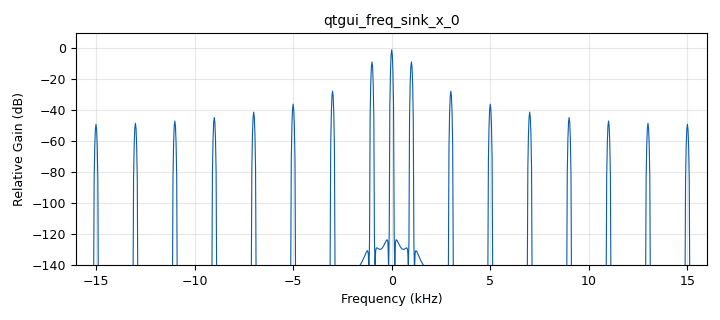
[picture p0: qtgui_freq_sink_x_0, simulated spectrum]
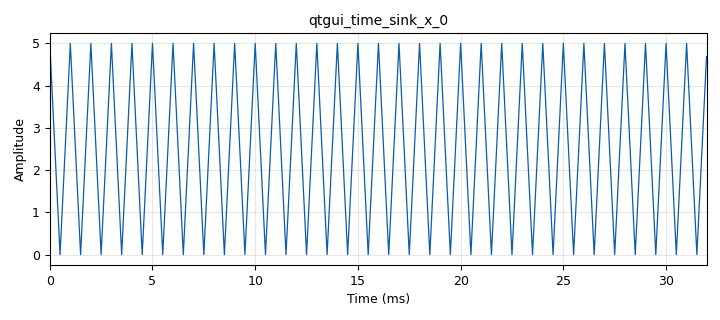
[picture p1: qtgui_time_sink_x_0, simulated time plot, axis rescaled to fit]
options:
  parameters:
    author: labcom
    generate_options: qt_gui
    id: flujograma2
    output_language: python
    title: Not titled yet
  states: {}

blocks:
- name: d
  id: variable_qtgui_range
  parameters:
    start: '0'
    step: '0.5'
    stop: '10'
    value: '5'
  states: {}
- name: samp_rate
  id: variable
  parameters:
    value: '32000'
  states: {}
- name: analog_sig_source_x_0
  id: analog_sig_source_x
  parameters:
    amp: '1'
    freq: '1000'
    offset: '0'
    phase: '0'
    samp_rate: samp_rate
    type: float
    waveform: analog.GR_TRI_WAVE
  states: {}
- name: blocks_multiply_const_vxx_0
  id: blocks_multiply_const_vxx
  parameters:
    const: d
    type: float
  states: {}
- name: qtgui_freq_sink_x_0
  id: qtgui_freq_sink_x
  parameters:
    bw: samp_rate
    fc: '0'
    fftsize: '1024'
    type: float
  states: {}
- name: qtgui_time_sink_x_0
  id: qtgui_time_sink_x
  parameters:
    size: '1024'
    srate: samp_rate
    type: float
  states: {}

connections:
- [analog_sig_source_x_0, '0', blocks_multiply_const_vxx_0, '0']
- [blocks_multiply_const_vxx_0, '0', qtgui_freq_sink_x_0, '0']
- [blocks_multiply_const_vxx_0, '0', qtgui_time_sink_x_0, '0']

metadata:
  file_format: 1
  grc_version: 3.10.5.1
